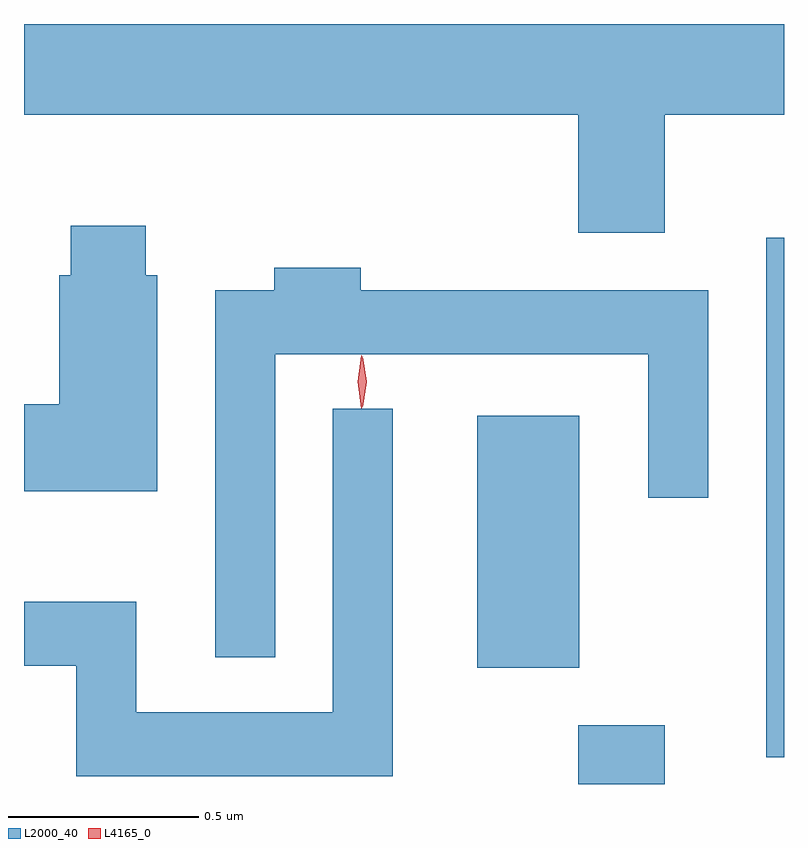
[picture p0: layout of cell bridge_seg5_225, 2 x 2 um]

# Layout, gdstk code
import gdstk
lib = gdstk.Library(unit=1e-6, precision=1e-09)
def R(c, l, rs):  # rectangles x0, y0, x1, y1
    for r in rs: c.add(gdstk.rectangle(r[:2], r[2:], *l))
def P(c, l, *ps):  # polygons
    for p in ps: c.add(gdstk.Polygon(p, *l))
L2000_40 = (2000, 40)
L4165_0 = (4165, 0)

bridge_seg5_225 = lib.new_cell('bridge_seg5_225')
R(bridge_seg5_225, L2000_40, [(1282.601,1421.735,1282.829,1421.889), (1283.096,1421.806,1283.143,1423.173), (1282.336,1422.041,1282.604,1422.704)])
P(bridge_seg5_225, L2000_40, [(1282.829,1423.496),(1283.143,1423.496),(1283.143,1423.735),(1281.143,1423.735),(1281.143,1423.496),(1282.601,1423.496),(1282.601,1423.186),(1282.829,1423.186)],
  [(1281.494,1423.074),(1281.464,1423.074),(1281.464,1423.204),(1281.266,1423.204),(1281.266,1423.074),(1281.236,1423.074),(1281.236,1422.734),(1281.143,1422.734),(1281.143,1422.506),(1281.494,1422.506)],
  [(1281.804,1422.866),(1282.786,1422.866),(1282.786,1422.488),(1282.944,1422.488),(1282.944,1423.034),(1282.029,1423.034),(1282.029,1423.094),(1281.801,1423.094),(1281.801,1423.034),(1281.646,1423.034),(1281.646,1422.068),(1281.804,1422.068)],
  [(1282.114,1422.723),(1281.956,1422.723),(1281.956,1421.924),(1281.439,1421.924),(1281.439,1422.214),(1281.143,1422.214),(1281.143,1422.046),(1281.281,1422.046),(1281.281,1421.756),(1282.114,1421.756)])
P(bridge_seg5_225, L4165_0, [(1282.031,1422.724),(1282.021,1422.793),(1282.03,1422.862),(1282.031,1422.863),(1282.032,1422.862),(1282.041,1422.793),(1282.032,1422.724),(1282.032,1422.724)],
  [(1282.034,1422.727),(1282.025,1422.794),(1282.034,1422.86),(1282.035,1422.861),(1282.035,1422.86),(1282.045,1422.794),(1282.035,1422.727),(1282.035,1422.727)])

lib.write_gds('bridge_seg5_225.gds')
